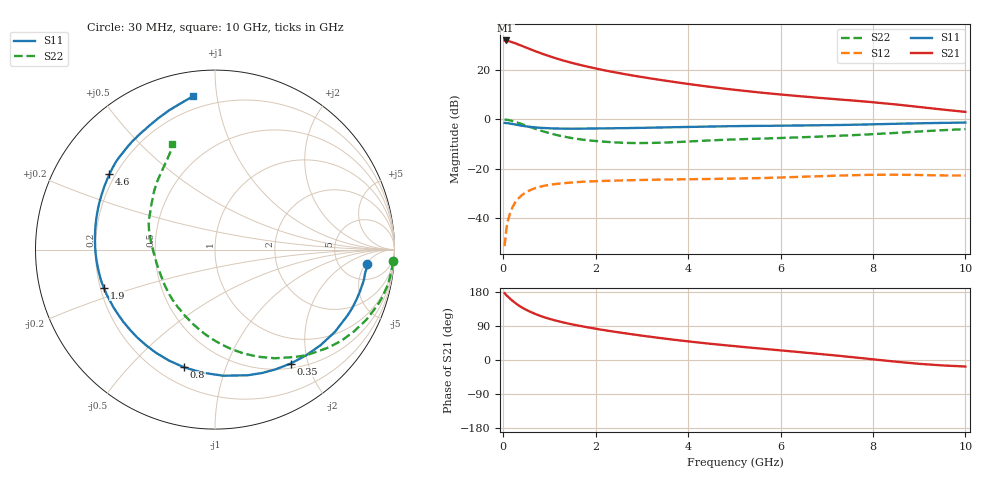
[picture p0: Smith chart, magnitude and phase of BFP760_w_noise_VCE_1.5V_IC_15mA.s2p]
! Infineon Technologies  Discrete & RF Semiconductors
! BFP760
! VCE =  1.5 V,  IC =  15 mA
! Common Emitter S-Parameters:  Nov 2012
# GHz  S  MA  R  50
!  f  S11  S21  S12  S22
! GHz  MAG  ANG  MAG  ANG  MAG  ANG  MAG  ANG
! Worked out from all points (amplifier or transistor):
!   99 points, 30 MHz to 10 GHz, reference 50 ohm
!   highest |S21| = 32.0 dB at 50 MHz (marker M1)
!   |S21| within 3 dB of that: start of sweep to 510.1 MHz
!   unconditionally stable (mu >= 1): 5.041 GHz to end of sweep
!   at 350 MHz: K = 0.16, MSG = 30.9 dB, |S12| = -31.7 dB
!   at 3.5 GHz: K = 0.79, MSG = 20.1 dB, |S12| = -24.4 dB
!   at 10 GHz: K = 1.15, MAG = 10.6 dB, |S12| = -22.7 dB
!   lowest NFmin = 0.56 dB at 900 MHz
!   S11 on the Smith chart (normalised r, x): 30 MHz: 9, -5; 350 MHz: 0.57, -1.72; 800 MHz: 0.30, -0.73; 1.9 GHz: 0.21, -0.16; 4.6 GHz: 0.18, +0.31; 10 GHz: 0.13, +0.86
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0.03  0.8516 -5.4  39.54 176.3  0.0027 81.8  0.9928 -3.8
0.04  0.8503 -7.2  39.57 175.2  0.0034 86.2  0.9922 -5.1
0.05  0.8465 -9.0  39.96 173.3  0.0041 78.6  0.9909 -6.4
0.13  0.8311 -22.9  38.35 163.8  0.0109 79.8  0.966 -16.7
0.2  0.8104 -34.4  36.6 156.3  0.0165 72.2  0.9294 -24.9
0.3  0.7773 -49.4  33.87 146.9  0.0235 65.5  0.8693 -35.6
0.35  0.762 -56.4  32.41 142.8  0.0261 61.7  0.8374 -40.5
0.45  0.7357 -69.2  29.76 135.5  0.0314 55.9  0.7767 -49.3
0.6  0.7042 -86.3  26.22 126.3  0.0375 49.0  0.6915 -61.1
0.8  0.6782 -104.8  22.27 116.5  0.0433 41.6  0.6002 -74.6
1  0.6625 -119.6  19.15 108.6  0.0472 36.1  0.5284 -86.3
1.2  0.6538 -131.7  16.7 102.1  0.0499 32.0  0.4743 -96.7
1.4  0.6502 -141.7  14.74 96.4  0.0519 28.9  0.4342 -106.0
1.7  0.6511 -154.2  12.51 89.1  0.0544 25.5  0.391 -118.6
1.9  0.655 -161.1  11.34 84.7  0.0555 23.4  0.3723 -126.6
2.5  0.6657 -178.2  8.73 72.9  0.0579 19.4  0.34 -147.3
3.4  0.6874 162.6  6.332 57.9  0.0603 15.8  0.3381 -173.2
4.6  0.7224 144.5  4.434 41.4  0.0625 13.5  0.3801 164.6
5.1  0.7347 139.5  3.908 35.5  0.0636 13.1  0.3967 158.6
6.7  0.7608 126.5  2.811 17.6  0.07 11.6  0.4442 142.0
8.5  0.8176 108.1  2.014 -4.5  0.0758 3.9  0.5342 123.1
10  0.8657 98.1  1.425 -17.2  0.0729 1.2  0.6374 112.0
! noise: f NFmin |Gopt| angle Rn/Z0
0.9  0.56  0.13  32  0.08
1.8  0.6  0.06  78  0.08
2.4  0.66  0.07  133  0.08
3.5  0.78  0.08  168  0.08
5.5  1.01  0.26  -130  0.08
8  1.36  0.39  -91  0.26
